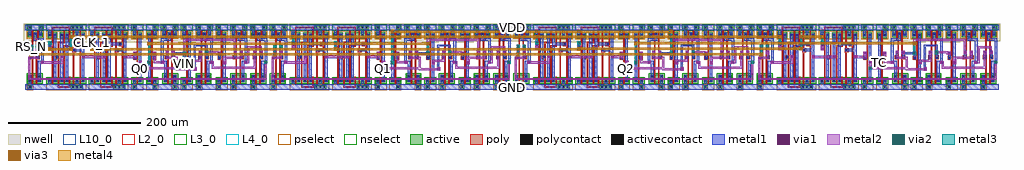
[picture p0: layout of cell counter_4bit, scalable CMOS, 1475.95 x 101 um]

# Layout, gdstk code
from math import pi, radians
import gdstk
lib = gdstk.Library(unit=1e-6, precision=1e-09)
def R(c, l, rs):  # rectangles x0, y0, x1, y1
    for r in rs: c.add(gdstk.rectangle(r[:2], r[2:], *l))
def A(c, l, x, y, w, h, nx, ny, dx, dy):  # array of equal rectangles
    R(c, l, [(x+i*dx, y+j*dy, x+i*dx+w, y+j*dy+h) for i in range(nx) for j in range(ny)])
def P(c, l, *ps):  # polygons
    for p in ps: c.add(gdstk.Polygon(p, *l))
L2_0 = (2, 0)
L3_0 = (3, 0)
L4_0 = (4, 0)
L10_0 = (10, 0)
via3 = (30, 0)
metal4 = (31, 0)
nwell = (42, 0)
active = (43, 0)
pselect = (44, 0)
nselect = (45, 0)
poly = (46, 0)
polycontact = (47, 0)
activecontact = (48, 0)
metal1 = (49, 0)
via1 = (50, 0)
metal2 = (51, 0)
via2 = (61, 0)
metal3 = (62, 0)

nand2 = lib.new_cell('nand2')
R(nand2, nwell, [(402,-492,436,-465)])
R(nand2, active, [(408,-564,414,-558), (408,-554,428,-548), (408,-548,428,-542), (408,-486,430,-484), (408,-484,430,-478), (408,-474,414,-468), (424,-474,430,-468)])
R(nand2, pselect, [(406,-566,416,-556), (406,-488,432,-476)])
R(nand2, nselect, [(406,-556,430,-540), (406,-476,432,-466)])
R(nand2, poly, [(414,-557,416,-545), (420,-557,422,-545), (410,-519,416,-513), (420,-519,426,-513), (414,-489,416,-475), (422,-489,424,-475)])
R(nand2, polycontact, [(412,-517,414,-515), (422,-517,424,-515)])
A(nand2, activecontact, 410, -482, 2, 2, 3, 1, 8, 0)
R(nand2, activecontact, [(410,-562,412,-560), (410,-552,412,-550), (424,-552,426,-550), (410,-546,412,-544), (424,-546,426,-544), (410,-472,412,-470), (426,-472,428,-470)])
A(nand2, metal1, 409, -483, 4, 4, 3, 1, 8, 0)
R(nand2, metal1, [(404,-565,434,-557), (409,-563,413,-559), (409,-553,413,-549), (423,-553,427,-549), (409,-547,413,-543), (423,-547,427,-543), (427,-526,432,-521), (411,-518,415,-514), (421,-518,425,-514), (411,-511,416,-506), (420,-511,425,-506), (404,-475,434,-467), (409,-473,413,-469), (425,-473,429,-469)])
R(nand2, via1, [(428,-525,431,-522), (412,-510,415,-507), (421,-510,424,-507)])
R(nand2, metal2, [(427,-526,432,-521), (411,-511,416,-506), (420,-511,425,-506)])
nand2.add(gdstk.FlexPath([(425,-543),(425,-521)], 4, ends="flush", simple_path=True, layer=49, datatype=0))  # metal1
nand2.add(gdstk.FlexPath([(430,-517),(430,-497)], 4, ends="flush", simple_path=True, layer=49, datatype=0))  # metal1
nand2.add(gdstk.FlexPath([(417,-489),(432,-489)], 4, ends="flush", simple_path=True, layer=49, datatype=0))  # metal1
nand2.add(gdstk.FlexPath([(419,-483),(419,-487)], 4, ends="flush", simple_path=True, layer=49, datatype=0))  # metal1
nand2.add(gdstk.FlexPath([(430,-491),(430,-497)], 4, ends="flush", simple_path=True, layer=49, datatype=0))  # metal1
nand2.add(gdstk.FlexPath([(423,-514),(423,-511)], 4, ends="flush", simple_path=True, layer=49, datatype=0))  # metal1
nand2.add(gdstk.FlexPath([(413,-514),(413,-511)], 4, ends="flush", simple_path=True, layer=49, datatype=0))  # metal1
nand2.add(gdstk.FlexPath([(411,-473),(411,-479)], 4, ends="flush", simple_path=True, layer=49, datatype=0))  # metal1
nand2.add(gdstk.FlexPath([(427,-473),(427,-479)], 4, ends="flush", simple_path=True, layer=49, datatype=0))  # metal1
nand2.add(gdstk.FlexPath([(430,-517),(430,-521)], 4, ends="flush", simple_path=True, layer=49, datatype=0))  # metal1
nand2.add(gdstk.FlexPath([(411,-553),(411,-559)], 4, ends="flush", simple_path=True, layer=49, datatype=0))  # metal1
nand2.add(gdstk.FlexPath([(425,-549),(425,-547)], 4, ends="flush", simple_path=True, layer=49, datatype=0))  # metal1
nand2.add(gdstk.FlexPath([(411,-549),(411,-547)], 4, ends="flush", simple_path=True, layer=49, datatype=0))  # metal1
nand2.add(gdstk.FlexPath([(415,-489),(415,-545)], 2, ends="flush", simple_path=True, layer=46, datatype=0))  # poly
nand2.add(gdstk.FlexPath([(421,-545),(421,-491)], 2, ends="flush", simple_path=True, layer=46, datatype=0))  # poly
nand2.add(gdstk.FlexPath([(420,-490),(424,-490)], 2, ends="flush", simple_path=True, layer=46, datatype=0))  # poly
nand2.add(gdstk.Label('VA', (413.5,-508.5), layer=51, texttype=0))
nand2.add(gdstk.Label('VB', (422.5,-508.5), layer=51, texttype=0))
nand2.add(gdstk.Label('VOUT', (429.5,-523.5), layer=51, texttype=0))
nand2.add(gdstk.Label('VDD', (419,-471), layer=49, texttype=0))
nand2.add(gdstk.Label('GND', (419,-561), layer=49, texttype=0))

latch_rs = lib.new_cell('latch_rs')
R(latch_rs, nwell, [(72,141.6,140,169.6)])
A(latch_rs, active, 113, 70.6, 6, 6, 3, 2, 6, 90)
R(latch_rs, active, [(78,80.6,92,86.6), (96,80.6,134,86.6), (78,147.6,92,150.6), (96,147.6,134,150.6), (78,150.6,92,156.6), (96,150.6,134,156.6)])
R(latch_rs, pselect, [(76,68.6,136,78.6), (76,145.6,94,158.6), (94,145.6,136,158.6)])
R(latch_rs, nselect, [(76,78.6,94,88.6), (94,78.6,136,88.6), (76,158.6,136,168.6)])
R(latch_rs, poly, [(84,77.6,86,89.6), (102,77.6,104,89.6), (110,77.6,112,89.6), (116,77.6,118,89.6), (126,77.6,128,89.6), (89,116,95,122), (115,126.6,121,132.6), (79,135,85,141), (121,135.6,127,141.6), (84,141.6,86,159.6), (102,147.6,104,159.6), (110,147.6,112,159.6), (116,147.6,118,159.6), (126,147.6,128,159.6)])
R(latch_rs, polycontact, [(91,118,93,120), (117,128.6,119,130.6), (81,137,83,139), (123,137.6,125,139.6)])
A(latch_rs, activecontact, 115, 72.6, 2, 2, 3, 2, 6, 90)
R(latch_rs, activecontact, [(80,82.6,82,84.6), (88,82.6,90,84.6), (98,82.6,100,84.6), (106,82.6,108,84.6), (121,82.6,123,84.6), (130,82.6,132,84.6), (80,151.6,82,153.6), (88,151.6,90,153.6), (98,151.6,100,153.6), (106,151.6,108,153.6), (121,151.6,123,153.6), (130,151.6,132,153.6)])
A(latch_rs, metal1, 114, 71.6, 4, 4, 3, 2, 6, 90)
R(latch_rs, metal1, [(74,69.6,138,77.6), (79,81.6,83,85.6), (87,81.6,91,85.6), (97,81.6,101,85.6), (105,81.6,109,85.6), (120,81.6,124,85.6), (129,81.6,133,85.6), (97,117,102,122), (129,117,134,122), (116,127.6,120,131.6), (79,129,84,134), (80,136,84,140), (122,136.6,126,140.6), (79,150.6,83,154.6), (87,150.6,91,154.6), (97,150.6,101,154.6), (105,150.6,109,154.6), (120,150.6,124,154.6), (129,150.6,133,154.6), (74,159.6,138,167.6)])
R(latch_rs, via1, [(98,118,101,121), (130,118,133,121), (80,130,83,133)])
R(latch_rs, metal2, [(97,117,102,122), (129,117,134,122), (79,129,84,134)])
latch_rs.add(gdstk.FlexPath([(89,145.6),(89,150.6)], 4, ends="flush", simple_path=True, layer=49, datatype=0))  # metal1
latch_rs.add(gdstk.FlexPath([(99,145.6),(99,150.6)], 4, ends="flush", simple_path=True, layer=49, datatype=0))  # metal1
latch_rs.add(gdstk.FlexPath([(107,145.6),(107,150.6)], 4, ends="flush", simple_path=True, layer=49, datatype=0))  # metal1
latch_rs.add(gdstk.FlexPath([(81,154.5),(81,160)], 4, ends="flush", simple_path=True, layer=49, datatype=0))  # metal1
latch_rs.add(gdstk.FlexPath([(89,108.6),(89,85.6)], 4, ends="flush", simple_path=True, layer=49, datatype=0))  # metal1
latch_rs.add(gdstk.FlexPath([(122,138.6),(109,138.6)], 4, ends="flush", simple_path=True, layer=49, datatype=0))  # metal1
latch_rs.add(gdstk.FlexPath([(89,108.5),(89,146)], 4, ends="flush", simple_path=True, layer=49, datatype=0))  # metal1
latch_rs.add(gdstk.FlexPath([(99,108.5),(99,146)], 4, ends="flush", simple_path=True, layer=49, datatype=0))  # metal1
latch_rs.add(gdstk.FlexPath([(82,136),(82,134)], 4, ends="flush", simple_path=True, layer=49, datatype=0))  # metal1
latch_rs.add(gdstk.FlexPath([(131,108.5),(131,146)], 4, ends="flush", simple_path=True, layer=49, datatype=0))  # metal1
latch_rs.add(gdstk.FlexPath([(131,108.6),(131,85.6)], 4, ends="flush", simple_path=True, layer=49, datatype=0))  # metal1
latch_rs.add(gdstk.FlexPath([(107,108.6),(107,85.6)], 4, ends="flush", simple_path=True, layer=49, datatype=0))  # metal1
latch_rs.add(gdstk.FlexPath([(91,119),(94,119)], 4, ends="flush", simple_path=True, layer=49, datatype=0))  # metal1
latch_rs.add(gdstk.FlexPath([(122,81.6),(122,75.6)], 4, ends="flush", simple_path=True, layer=49, datatype=0))  # metal1
latch_rs.add(gdstk.FlexPath([(131,145.6),(131,150.6)], 4, ends="flush", simple_path=True, layer=49, datatype=0))  # metal1
latch_rs.add(gdstk.FlexPath([(120,129.6),(129,129.6)], 4, ends="flush", simple_path=True, layer=49, datatype=0))  # metal1
latch_rs.add(gdstk.FlexPath([(81,75.6),(81,81.6)], 4, ends="flush", simple_path=True, layer=49, datatype=0))  # metal1
latch_rs.add(gdstk.FlexPath([(122,154.5),(122,160)], 4, ends="flush", simple_path=True, layer=49, datatype=0))  # metal1
latch_rs.add(gdstk.FlexPath([(99,108.6),(99,85.6)], 4, ends="flush", simple_path=True, layer=49, datatype=0))  # metal1
latch_rs.add(gdstk.FlexPath([(107,108.5),(107,146)], 4, ends="flush", simple_path=True, layer=49, datatype=0))  # metal1
latch_rs.add(gdstk.FlexPath([(103,147.6),(103,141.6)], 2, ends="flush", simple_path=True, layer=46, datatype=0))  # poly
latch_rs.add(gdstk.FlexPath([(117,141.6),(117,127.6)], 2, ends="flush", simple_path=True, layer=46, datatype=0))  # poly
latch_rs.add(gdstk.FlexPath([(85,89.5),(85,127)], 2, ends="flush", simple_path=True, layer=46, datatype=0))  # poly
latch_rs.add(gdstk.FlexPath([(117,89.5),(117,127)], 2, ends="flush", simple_path=True, layer=46, datatype=0))  # poly
latch_rs.add(gdstk.FlexPath([(85,141.6),(85,126.6)], 2, ends="flush", simple_path=True, layer=46, datatype=0))  # poly
latch_rs.add(gdstk.FlexPath([(85,159.6),(85,163.6),(111,163.6),(111,159.6)], 2, ends="flush", simple_path=True, layer=46, datatype=0))  # poly
latch_rs.add(gdstk.FlexPath([(94,104.5),(94,141.5)], 2, ends="flush", simple_path=True, layer=46, datatype=0))  # poly
latch_rs.add(gdstk.FlexPath([(111,147.6),(111,141.6)], 2, ends="flush", simple_path=True, layer=46, datatype=0))  # poly
latch_rs.add(gdstk.FlexPath([(103,128),(103,89.5)], 2, ends="flush", simple_path=True, layer=46, datatype=0))  # poly
latch_rs.add(gdstk.FlexPath([(94,104.6),(94,73.6),(111,73.6),(111,77.6)], 2, ends="flush", simple_path=True, layer=46, datatype=0))  # poly
latch_rs.add(gdstk.FlexPath([(117,147.6),(117,141.6)], 2, ends="flush", simple_path=True, layer=46, datatype=0))  # poly
latch_rs.add(gdstk.FlexPath([(127,141.6),(127,127.6)], 2, ends="flush", simple_path=True, layer=46, datatype=0))  # poly
latch_rs.add(gdstk.FlexPath([(111,141.6),(111,135.6),(103,135.6),(103,127.6)], 2, ends="flush", simple_path=True, layer=46, datatype=0))  # poly
latch_rs.add(gdstk.FlexPath([(127,147.6),(127,141.6)], 2, ends="flush", simple_path=True, layer=46, datatype=0))  # poly
latch_rs.add(gdstk.FlexPath([(127,127.6),(127,126.6)], 2, ends="flush", simple_path=True, layer=46, datatype=0))  # poly
latch_rs.add(gdstk.FlexPath([(104,141),(93,141)], 2, ends="flush", simple_path=True, layer=46, datatype=0))  # poly
latch_rs.add(gdstk.FlexPath([(127,127),(127,89.5)], 2, ends="flush", simple_path=True, layer=46, datatype=0))  # poly
latch_rs.add(gdstk.FlexPath([(117,127.6),(117,126.6)], 2, ends="flush", simple_path=True, layer=46, datatype=0))  # poly
latch_rs.add(gdstk.Label('CLK', (81.5,131.5), layer=51, texttype=0))
latch_rs.add(gdstk.Label('D', (99.5,119.5), layer=51, texttype=0))
latch_rs.add(gdstk.Label('Q', (131.5,119.5), layer=51, texttype=0))
latch_rs.add(gdstk.Label('VDD', (106,163.6), layer=49, texttype=0))
latch_rs.add(gdstk.Label('GND', (106,73.6), layer=49, texttype=0))

inv = lib.new_cell('inv')
R(inv, nwell, [(23.3,75.2,49.5,103.2)])
R(inv, active, [(29.3,4.2,35.3,10.2), (29.3,14.2,43.3,20.2), (29.3,81.2,43.3,84.2), (29.3,84.2,43.3,90.2), (29.3,94.2,35.3,100.2)])
R(inv, pselect, [(27.3,2.2,45.3,12.2), (27.3,79.2,45.3,92.2)])
R(inv, nselect, [(27.3,12.2,45.3,22.2), (27.3,92.2,45.3,102.2)])
R(inv, poly, [(35.3,11.2,37.3,23.2), (30.25,48.6,36.25,54.6), (35.3,75.2,37.3,93.2)])
R(inv, polycontact, [(32.3,50.6,34.3,52.6)])
R(inv, activecontact, [(31.3,6.2,33.3,8.2), (31.3,16.2,33.3,18.2), (39.3,16.2,41.3,18.2), (31.3,85.2,33.3,87.2), (39.3,85.2,41.3,87.2), (31.3,96.2,33.3,98.2)])
R(inv, metal1, [(30.3,5.2,34.3,9.2), (30.3,15.2,34.3,19.2), (38.3,15.2,42.3,19.2), (38.3,42.1,43.3,47.1), (31.3,49.6,35.3,53.6), (30.3,56,35.3,61), (30.3,84.2,34.3,88.2), (38.3,84.2,42.3,88.2), (30.3,95.2,34.3,99.2)])
R(inv, via1, [(39.3,43.1,42.3,46.1), (31.3,57,34.3,60)])
R(inv, metal2, [(38.3,42.1,43.3,47.1), (30.3,56,35.3,61)])
inv.add(gdstk.FlexPath([(24.99,97.2),(47.49,97.2)], 8, ends="flush", simple_path=True, layer=49, datatype=0))  # metal1
inv.add(gdstk.FlexPath([(25,7.2),(47.5,7.2)], 8, ends="flush", simple_path=True, layer=49, datatype=0))  # metal1
inv.add(gdstk.FlexPath([(33.3,53.6),(33.3,56)], 4, ends="flush", simple_path=True, layer=49, datatype=0))  # metal1
inv.add(gdstk.FlexPath([(40.3,42.2),(40.3,19.2)], 4, ends="flush", simple_path=True, layer=49, datatype=0))  # metal1
inv.add(gdstk.FlexPath([(32.3,88.2),(32.3,95.2)], 4, ends="flush", simple_path=True, layer=49, datatype=0))  # metal1
inv.add(gdstk.FlexPath([(40.3,79.2),(40.3,84.2)], 4, ends="flush", simple_path=True, layer=49, datatype=0))  # metal1
inv.add(gdstk.FlexPath([(32.3,9.2),(32.3,15.2)], 4, ends="flush", simple_path=True, layer=49, datatype=0))  # metal1
inv.add(gdstk.FlexPath([(40.3,42.1),(40.3,79.6)], 4, ends="flush", simple_path=True, layer=49, datatype=0))  # metal1
inv.add(gdstk.FlexPath([(36.3,75.2),(36.3,60.2)], 2, ends="flush", simple_path=True, layer=46, datatype=0))  # poly
inv.add(gdstk.FlexPath([(36.3,23.1),(36.3,60.6)], 2, ends="flush", simple_path=True, layer=46, datatype=0))  # poly
inv.add(gdstk.Label('VOUT', (40.8,44.6), layer=51, texttype=0))
inv.add(gdstk.Label('VIN', (32.8,58.5), layer=51, texttype=0))
inv.add(gdstk.Label('VDD', (36.24,97.2), layer=49, texttype=0))
inv.add(gdstk.Label('GND', (36.25,7.2), layer=49, texttype=0))
inv.add(gdstk.Label('VIN', (32.8,58.5), layer=3, texttype=0))
inv.add(gdstk.Label('VOUT', (40.8,44.6), layer=3, texttype=0))

dff_rs = lib.new_cell('dff_rs')
R(dff_rs, L2_0, [(-2030.3,-1377,-1849.8,-1369), (-2030.3,-1287,-1849.8,-1279)])
R(dff_rs, L4_0, [(-1859,-1347.1,-1854,-1342.1), (-2023.3,-1314,-2018.3,-1309), (-2014.3,-1314,-2009.3,-1309), (-1995.3,-1308.6,-1990.3,-1303.6), (-1931.3,-1308.6,-1926.3,-1303.6)])
R(dff_rs, metal1, [(-2030.3,-1377,-1849.8,-1369), (-2030.3,-1287,-1849.8,-1279)])
R(dff_rs, metal2, [(-1859,-1347.1,-1854,-1338.1), (-1977.3,-1329.6,-1972.3,-1324.6), (-2023.3,-1318,-2018.3,-1309), (-2014.3,-1318,-2009.3,-1309), (-1995.3,-1312.6,-1990.3,-1303.6), (-1931.3,-1312.6,-1926.3,-1303.6)])
R(dff_rs, via2, [(-1858,-1346.1,-1855,-1343.1), (-2022.3,-1313,-2019.3,-1310), (-2013.3,-1313,-2010.3,-1310), (-1994.3,-1307.6,-1991.3,-1304.6), (-1930.3,-1307.6,-1927.3,-1304.6)])
R(dff_rs, metal3, [(-1859,-1347.1,-1854,-1342.1), (-2023.3,-1314,-2018.3,-1309), (-2014.3,-1314,-2009.3,-1309), (-1995.3,-1308.6,-1990.3,-1303.6), (-1931.3,-1308.6,-1926.3,-1303.6)])
dff_rs.add(gdstk.FlexPath([(-1864.5,-1321.68),(-1864.5,-1329.6)], 5, ends="flush", simple_path=True, layer=51, datatype=0))  # metal2
dff_rs.add(gdstk.FlexPath([(-1942.3,-1327.6),(-1911.3,-1327.6)], 4, ends="flush", simple_path=True, layer=51, datatype=0))  # metal2
dff_rs.add(gdstk.FlexPath([(-2005,-1336),(-1975,-1336),(-1975,-1327)], 4, ends="flush", simple_path=True, layer=51, datatype=0))  # metal2
dff_rs.add(gdstk.FlexPath([(-1878.3,-1327.6),(-1862.3,-1327.6)], 4, ends="flush", simple_path=True, layer=51, datatype=0))  # metal2
dff_rs.add(gdstk.Reference(nand2, (-2434.3,-812)))
dff_rs.add(gdstk.Reference(latch_rs, (-2074.3,-1446.6)))
dff_rs.add(gdstk.Reference(latch_rs, (-2010.3,-1446.6)))
dff_rs.add(gdstk.Reference(inv, (-1897.3,-1380.2)))
dff_rs.add(gdstk.Label('GND', (-1940.05,-1373), layer=2, texttype=0))
dff_rs.add(gdstk.Label('Q', (-1856.5,-1344.6), layer=62, texttype=0))
dff_rs.add(gdstk.Label('Q', (-1856.5,-1344.6), layer=4, texttype=0))
dff_rs.add(gdstk.Label('VDD', (-1940.05,-1283), layer=2, texttype=0))
dff_rs.add(gdstk.Label('RS_N', (-2020.8,-1311.5), layer=62, texttype=0))
dff_rs.add(gdstk.Label('D', (-2011.8,-1311.5), layer=62, texttype=0))
dff_rs.add(gdstk.Label('CLK_2', (-1992.8,-1306.1), layer=62, texttype=0))
dff_rs.add(gdstk.Label('CLK_1', (-1928.8,-1306.1), layer=62, texttype=0))
dff_rs.add(gdstk.Label('RS_N', (-2020.8,-1311.5), layer=4, texttype=0))
dff_rs.add(gdstk.Label('D', (-2011.8,-1311.5), layer=4, texttype=0))
dff_rs.add(gdstk.Label('CLK_2', (-1992.8,-1306.1), layer=4, texttype=0))
dff_rs.add(gdstk.Label('CLK_1', (-1928.8,-1306.1), layer=4, texttype=0))

xor = lib.new_cell('xor')
R(xor, L2_0, [(-0.01,226,134.99,234), (-0.01,316,134.99,324)])
R(xor, L4_0, [(127.98,265,132.98,270), (5.3,278.8,10.3,283.8), (38.49,280,43.49,285)])
R(xor, metal2, [(65.79,269.9,70.79,275.94)])
P(xor, metal2, [(41.99,281),(56,281),(56,279.5),(59.29,279.5),(59.29,282.5),(59,282.5),(59,284),(41.99,284)],
  [(48.99,257.5),(115.5,257.5),(115.5,281.5),(112.5,281.5),(112.5,260.5),(51.99,260.5),(51.99,269),(48.99,269)],
  [(66.78,267.41),(69.78,267.41),(69.78,272.94),(94.99,272.94),(94.99,285),(91.99,285),(91.99,275.94),(66.78,275.94)],
  [(14,268.4),(33,268.4),(33,281.5),(30,281.5),(30,271.4),(14,271.4)],
  [(6,280.11),(9,280.11),(9,300.11),(82.5,300.11),(82.5,281.31),(85.5,281.31),(85.5,303.11),(6,303.11)],
  [(101.48,266),(105.98,266),(105.98,289),(121.5,289),(121.5,283.5),(124.5,283.5),(124.5,292),(102.98,292),(102.98,269),(101.48,269)])
R(xor, via2, [(128.98,266,131.98,269), (6.3,279.8,9.3,282.8), (39.49,281,42.49,284)])
R(xor, metal3, [(127.98,265,132.98,270), (5.3,278.8,10.3,283.8), (38.49,280,43.49,285)])
xor.add(gdstk.Reference(inv, (27.49,222.8)))
xor.add(gdstk.Reference(inv, (-25,222.8)))
xor.add(gdstk.Reference(nand2, (-329.02,791)))
xor.add(gdstk.Reference(nand2, (-299.02,791)))
xor.add(gdstk.Reference(nand2, (-381.51,791)))
xor.add(gdstk.Label('/VA', (7.8,281.3), layer=62, texttype=0))
xor.add(gdstk.Label('/VB', (40.99,282.5), layer=62, texttype=0))
xor.add(gdstk.Label('/VOUT', (130.48,267.5), layer=62, texttype=0))
xor.add(gdstk.Label('VDD', (67.49,320), layer=2, texttype=0))
xor.add(gdstk.Label('GND', (67.49,230), layer=2, texttype=0))
xor.add(gdstk.Label('VA', (7.8,281.3), layer=4, texttype=0))
xor.add(gdstk.Label('VB', (40.99,282.5), layer=4, texttype=0))
xor.add(gdstk.Label('VOUT', (130.48,267.5), layer=4, texttype=0))

and2 = lib.new_cell('and2')
R(and2, L2_0, [(1.5,63.85,53.99,71.85), (1.5,153.85,53.99,161.85)])
R(and2, L3_0, [(44.8,102.75,49.8,107.75), (8.5,117.85,13.5,122.85), (17.5,117.85,22.5,122.85)])
R(and2, metal2, [(8.5,117.85,13.5,122.85), (17.5,117.85,22.5,122.85)])
P(and2, metal2, [(28.49,103.85),(40.5,103.85),(40.5,118.11),(37.5,118.11),(37.5,106.85),(28.49,106.85)])
R(and2, via2, [(45.8,103.75,48.8,106.75)])
R(and2, metal3, [(44.8,102.75,49.8,107.75)])
and2.add(gdstk.Reference(nand2, (-402.5,628.85)))
and2.add(gdstk.Reference(inv, (6.5,60.65)))
and2.add(gdstk.Label('VDD', (27.745,157.85), layer=2, texttype=0))
and2.add(gdstk.Label('GND', (27.745,67.85), layer=2, texttype=0))
and2.add(gdstk.Label('VA', (11,120.35), layer=3, texttype=0))
and2.add(gdstk.Label('VB', (20,120.35), layer=3, texttype=0))
and2.add(gdstk.Label('VOUT', (47.3,105.25), layer=3, texttype=0))
and2.add(gdstk.Label('/VOUT', (47.3,105.25), layer=62, texttype=0))
and2.add(gdstk.Label('/VA', (11,120.35), layer=51, texttype=0))
and2.add(gdstk.Label('/VB', (20,120.35), layer=51, texttype=0))

c_ha = lib.new_cell('ha')
R(c_ha, metal1, [(-145.79,76.4,41.7,84.4), (-71.71,105.06,-66.71,110.06), (-100.39,130.21,-87.75,133.21), (-145.79,166.4,41.7,174.4)])
P(c_ha, metal1, [(-71.34,109.85),(-68.34,109.85),(-68.34,141.78),(-53.79,141.78),(-53.79,135.28),(-50.79,135.28),(-50.79,144.78),(-71.34,144.78)])
R(c_ha, via1, [(-70.71,106.06,-67.71,109.06)])
R(c_ha, metal2, [(-71.71,105.06,-66.71,110.06)])
P(c_ha, metal2, [(-113.48,123.35),(-99.05,123.35),(-99.05,106.06),(-71.35,106.06),(-71.35,109.06),(-96.05,109.06),(-96.05,126.35),(-110.48,126.35),(-110.48,130.66),(-113.48,130.66)])
R(c_ha, metal3, [(-141.6,115.3,-136.6,120.3), (34.69,115.4,39.69,120.4), (-87.99,129.2,-82.99,134.2), (-54.8,130.4,-49.8,135.4)])
c_ha.add(gdstk.Reference(xor, (-93.29,-149.6)))
c_ha.add(gdstk.Reference(and2, (-91.8,12.55), rotation=pi, x_reflection=True))

counter_1bit = lib.new_cell('counter_1bit')
R(counter_1bit, metal1, [(15.61,63.85,383.6,71.85), (15.61,153.85,383.6,161.85)])
R(counter_1bit, metal2, [(156.26,94.76,207.4,97.76)])
P(counter_1bit, metal2, [(18.64,78.58),(379.27,78.58),(379.27,106.45),(376.27,106.45),(376.27,81.58),(21.64,81.58),(21.64,102.89),(18.64,102.89)],
  [(363.6,110.84),(376.27,110.84),(376.27,106.41),(379.27,106.41),(379.27,113.84),(366.6,113.84),(366.6,118),(363.6,118)])
R(counter_1bit, metal3, [(207.3,93.75,212.3,98.75), (193.91,102.75,198.91,107.75), (140.3,116.65,145.3,121.65), (371.6,126.85,376.6,131.85), (279.6,132.25,284.6,137.25), (343.6,132.25,348.6,137.25)])
counter_1bit.add(gdstk.Reference(dff_rs, (-1646.7,1440.85), rotation=pi, x_reflection=True))
counter_1bit.add(gdstk.Reference(c_ha, (57.31,-12.55), rotation=pi, x_reflection=True))

via3_ = lib.new_cell('via3')
R(via3_, via3, [(-1.5,-1.5,1.5,1.5)])
R(via3_, metal4, [(-2.5,-2.5,2.5,2.5)])
R(via3_, metal3, [(-2.5,-2.5,2.5,2.5)])

counter_4bit = lib.new_cell('counter_4bit')
R(counter_4bit, L2_0, [(-558.05,288.5,913.91,296.5), (-558.05,378.5,913.91,386.5)])
A(counter_4bit, L4_0, -386.75, 318.4, 5, 5, 4, 1, 367.99, 0)
R(counter_4bit, L4_0, [(730.61,327.4,735.61,332.4), (-551.05,351.5,-546.05,356.5), (-523.05,356.9,-518.05,361.9), (-459.05,356.9,-454.05,361.9)])
R(counter_4bit, L10_0, [(-319.76,326.35,-314.76,331.35)])
R(counter_4bit, via3, [(-318.76,327.35,-315.76,330.35)])
R(counter_4bit, metal4, [(-319.76,326.35,-314.76,331.35), (-550.5,340.5,-182,343.5), (-182.5,340.5,188.5,343.5), (188,340.5,556.5,343.5), (-522.5,348.5,-487.5,351.5), (-458.5,348.5,-90,351.5), (-90.5,348.5,280.5,351.5), (278.5,349,616.5,352), (-372.5,356.5,52,359.5), (363.5,357,788,360), (-490.5,367,-151.5,370), (-152,367,216.5,370), (216,367,584.5,370), (613.5,367,648.5,370), (-4.5,375,420,378)])
R(counter_4bit, metal1, [(-558.05,288.5,913.91,296.5), (-558.05,378.5,913.91,386.5)])
A(counter_4bit, metal3, -386.75, 318.4, 5, 5, 4, 1, 367.99, 0)
A(counter_4bit, metal3, -550.5, 340.5, 3, 12.5, 4, 1, 368, 0)
A(counter_4bit, metal3, -458.5, 348.5, 3, 9.9, 3, 1, 368, 0)
A(counter_4bit, metal3, -154.5, 360.4, 3, 9.6, 3, 1, 368, 0)
R(counter_4bit, metal3, [(-319.76,326.35,-314.76,331.35), (730.61,327.4,735.61,332.4), (-372.5,330.9,-369.5,359.5), (-4.5,330.9,-1.5,378), (363.5,330.9,366.5,360), (-319.76,331.35,-314.76,341.35), (49,344.8,52,359.5), (417,344.8,420,378), (785,344.8,788,360), (-522.5,348.5,-519.5,358.4), (-490.5,348.5,-487.5,370), (613.5,349,616.5,370), (-551.05,351.5,-546.05,356.5), (-523.05,356.9,-518.05,361.9), (-459.05,356.9,-454.05,361.9), (645.5,360.4,648.5,370)])
counter_4bit.add(gdstk.Reference(counter_1bit, (-174.45,224.65), rotation=pi, x_reflection=True))
counter_4bit.add(gdstk.Reference(counter_1bit, (193.54,224.65), rotation=pi, x_reflection=True))
counter_4bit.add(gdstk.Reference(counter_1bit, (561.53,224.65), rotation=pi, x_reflection=True))
counter_4bit.add(gdstk.Reference(counter_1bit, (929.52,224.65), rotation=pi, x_reflection=True))
counter_4bit.add(gdstk.Reference(via3_, (-521,350)))
counter_4bit.add(gdstk.Reference(via3_, (-489,350)))
counter_4bit.add(gdstk.Reference(via3_, (-489,368.5)))
counter_4bit.add(gdstk.Reference(via3_, (-153,368.5)))
counter_4bit.add(gdstk.Reference(via3_, (215,368.5)))
counter_4bit.add(gdstk.Reference(via3_, (583,368.5)))
counter_4bit.add(gdstk.Reference(via3_, (-549,342)))
counter_4bit.add(gdstk.Reference(via3_, (615,350.5)))
counter_4bit.add(gdstk.Reference(via3_, (615,368.5)))
counter_4bit.add(gdstk.Reference(via3_, (647,368.5)))
counter_4bit.add(gdstk.Reference(via3_, (365,358.5)))
counter_4bit.add(gdstk.Reference(via3_, (786.5,358.5)))
counter_4bit.add(gdstk.Reference(via3_, (-371,358)))
counter_4bit.add(gdstk.Reference(via3_, (50.5,358)))
counter_4bit.add(gdstk.Reference(via3_, (-3,376.5)))
counter_4bit.add(gdstk.Reference(via3_, (418.5,376.5)))
counter_4bit.add(gdstk.Reference(via3_, (-89,350)))
counter_4bit.add(gdstk.Reference(via3_, (279,350)))
counter_4bit.add(gdstk.Reference(via3_, (-457,350)))
counter_4bit.add(gdstk.Reference(via3_, (-181,342)))
counter_4bit.add(gdstk.Reference(via3_, (187,342)))
counter_4bit.add(gdstk.Reference(via3_, (555,342)))
counter_4bit.add(gdstk.Label('TC', (733.11,329.9), layer=4, texttype=0))
counter_4bit.add(gdstk.Label('RS_N', (-548.55,354), layer=4, texttype=0))
counter_4bit.add(gdstk.Label('Q0', (-384.25,320.9), layer=4, texttype=0))
counter_4bit.add(gdstk.Label('Q1', (-16.26,320.9), layer=4, texttype=0))
counter_4bit.add(gdstk.Label('CLK_1', (-456.55,359.4), layer=4, texttype=0))
counter_4bit.add(gdstk.Label('Q2', (351.73,320.9), layer=4, texttype=0))
counter_4bit.add(gdstk.Label('Q3', (719.72,320.9), layer=4, texttype=0))
counter_4bit.add(gdstk.Label('CLK_2', (-520.55,359.4), layer=4, texttype=0))
counter_4bit.add(gdstk.Label('VDD', (177.93,382.5), layer=2, texttype=0))
counter_4bit.add(gdstk.Label('GND', (177.93,292.5), layer=2, texttype=0))
counter_4bit.add(gdstk.Label('VIN', (-317.26,328.85), layer=10, texttype=0))

lib.write_gds('counter_4bit.gds')
